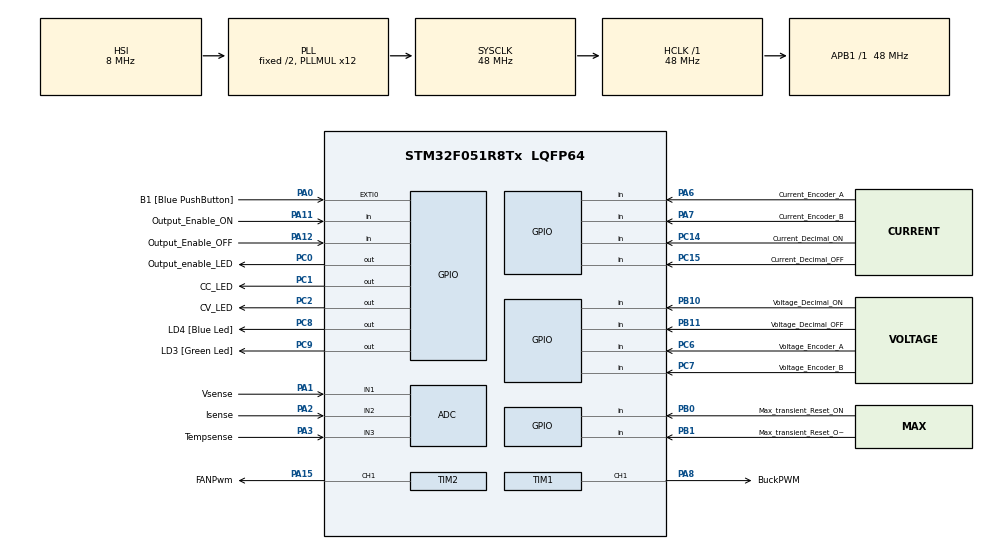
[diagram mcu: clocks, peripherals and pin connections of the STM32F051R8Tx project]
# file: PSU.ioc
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ADC.ClockPrescaler=ADC_CLOCK_SYNC_PCLK_DIV4
ADC.DiscontinuousConvMode=ENABLE
Mcu.Family=STM32F0
Mcu.Name=STM32F051R8Tx
Mcu.Package=LQFP64
NVIC.TIM15_IRQn=true\:0\:0\:false\:false\:true\:true\:true
PA0.GPIO_Label=B1 [Blue PushButton]
PA0.GPIO_ModeDefaultEXTI=GPIO_MODE_EVT_RISING
PA0.Signal=GPXTI0
PA1.GPIO_Label=Vsense
PA1.Mode=IN1
PA1.Signal=ADC_IN1
PA11.GPIO_Label=Output_Enable_ON
PA11.GPIO_PuPd=GPIO_NOPULL
PA11.Signal=GPIO_Input
PA12.GPIO_Label=Output_Enable_OFF
PA12.GPIO_PuPd=GPIO_NOPULL
PA12.Signal=GPIO_Input
PA13.GPIO_Label=SWDIO
PA13.Mode=Serial_Wire
PA13.Signal=SYS_SWDIO
PA14.GPIO_Label=SWCLK
PA14.Mode=Serial_Wire
PA14.Signal=SYS_SWCLK
PA15.GPIO_Label=FANPwm
PA15.Signal=S_TIM2_CH1_ETR
PA2.GPIO_Label=Isense
PA2.Mode=IN2
PA2.Signal=ADC_IN2
PA3.GPIO_Label=Tempsense
PA3.Mode=IN3
PA3.Signal=ADC_IN3
PA6.GPIO_Label=Current_Encoder_A
PA6.Signal=GPIO_Input
PA7.GPIO_Label=Current_Encoder_B
PA7.Signal=GPIO_Input
PA8.GPIO_Label=BuckPWM
PA8.Signal=S_TIM1_CH1
PB0.GPIO_Label=Max_transient_Reset_ON
PB0.Signal=GPIO_Input
PB1.GPIO_Label=Max_transient_Reset_OFF
PB1.Signal=GPIO_Input
PB10.GPIO_Label=Voltage_Decimal_ON
PB10.Signal=GPIO_Input
PB11.GPIO_Label=Voltage_Decimal_OFF
PB11.Signal=GPIO_Input
PC0.GPIO_Label=Output_enable_LED
PC0.Signal=GPIO_Output
PC1.GPIO_Label=CC_LED
PC1.Signal=GPIO_Output
PC14-OSC32_IN.GPIO_Label=Current_Decimal_ON
PC14-OSC32_IN.Signal=GPIO_Input
PC15-OSC32_OUT.GPIO_Label=Current_Decimal_OFF
PC15-OSC32_OUT.Signal=GPIO_Input
PC2.GPIO_Label=CV_LED
PC2.Signal=GPIO_Output
PC6.GPIO_Label=Voltage_Encoder_A
PC6.Signal=GPIO_Input
PC7.GPIO_Label=Voltage_Encoder_B
PC7.Signal=GPIO_Input
PC8.GPIO_Label=LD4 [Blue Led]
PC8.Signal=GPIO_Output
PC9.GPIO_Label=LD3 [Green Led]
PC9.Signal=GPIO_Output
ProjectManager.HeapSize=0x200
ProjectManager.StackSize=0x400
ProjectManager.TargetToolchain=SW4STM32
RCC.AHBFreq_Value=48000000
RCC.APB1Freq_Value=48000000
RCC.APB1TimFreq_Value=48000000
RCC.HCLKFreq_Value=48000000
RCC.PLLMUL=RCC_PLL_MUL12
RCC.SYSCLKFreq_VALUE=48000000
RCC.SYSCLKSource=RCC_SYSCLKSOURCE_PLLCLK
SH.S_TIM1_CH1.0=TIM1_CH1,PWM Generation1 CH1
SH.S_TIM2_CH1_ETR.0=TIM2_CH1,PWM Generation1 CH1
TIM1.Channel-PWM\ Generation1\ CH1=TIM_CHANNEL_1
TIM1.Period=48-1
TIM1.Prescaler=1-1
TIM1.Pulse-PWM\ Generation1\ CH1=6
TIM15.Period=200-1
TIM15.Prescaler=48000
TIM2.Channel-PWM\ Generation1\ CH1=TIM_CHANNEL_1
TIM2.Period=400-1
TIM2.Prescaler=2000-1
TIM2.Pulse-PWM\ Generation1\ CH1=100
VP_TIM15_VS_ClockSourceINT.Mode=Internal
VP_TIM1_VS_ClockSourceINT.Mode=Internal
VP_TIM2_VS_ClockSourceINT.Mode=Internal
board=STM32F0DISCOVERY

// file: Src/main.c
/* USER CODE BEGIN Header */
/**
 ******************************************************************************
 * @file           : main.c
 * @brief          : Main program body
 ******************************************************************************
 * @attention
 *
 * <h2><center>&copy; Copyright (c) 2019 STMicroelectronics.
 * All rights reserved.</center></h2>
 *
 * This software component is licensed by ST under BSD 3-Clause license,
 * the "License"; You may not use this file except in compliance with the
 * License. You may obtain a copy of the License at:
 *                        opensource.org/licenses/BSD-3-Clause
 *
 ******************************************************************************
 */
/* USER CODE END Header */

#include "main.h"

/* USER CODE BEGIN Includes */
#include "arm_math.h"
#include <stdio.h>
#include <stdlib.h>
#include "stm32f0xx.h"

/* USER CODE END Includes */

/* USER CODE BEGIN PD */
#define VOLT_DIV_FACTOR		0.0445 		// assuming R1 = 16.4k and R2 = 1k
#define CURR_DIV_FACTOR 	0.235	// CSA gain is 0.5V/A
#define VOLT_OFFSET			0.3
#define CURR_OFFSET			0.15
#define CURR_REF			2.958		//reference voltage for CSA
#define cc_hysterisis       0.01
#define N					100			// moving avg approx uses 100 past samples

#define UNK                 -1
#define NON_INTR             0
#define INTR                 1

/* USER CODE END PD */

ADC_HandleTypeDef hadc;

TIM_HandleTypeDef htim1;
TIM_HandleTypeDef htim2;
TIM_HandleTypeDef htim15;

/* USER CODE BEGIN PV */

//Elliott UI

int interrupt_mode = UNK;   // which version of putchar/getchar to use.
int error_voltage = 0;   //rename and write conditions for errors
int error_current = 0;
int error_temp = 0;

int User_Voltage_limit = 0;  //set from encoder
int User_Current_limit = 0;  //set from encoder
int OutputCounter = 0;
int VDecimal = 0;
int VDecimalCounter = 0;
int CDecimal = 0;
int CDecimalCounter = 0;
int VDecimalOn = 0;
int VDecimalOff = 0;
int VaState = 0;
int VbState = 0;
int CDecimalOn = 0;
int CDecimalOff = 0;
int CaState = 0;
int CbState = 0;
int VaLastState = 0;
int VbLastState = 0;
int CaLastState = 0;
int CbLastState = 0;
int Watts = 0;  	//Power being displayed to user, calculated from output V and I
int LastWatts = 0;
int Last_v_sense_avg = 0;
int Last_i_sense_avg = 0;
int Lastfarh = 0;
int maxreset = 0;

int raw_tempsense_value = 0; //12b value from adc for TempSense
float farh = 0;
int max_trans_current = 0;

//brad's buck converter variables
int raw_voltage = 0;            //12b value from adc for vsense
int raw_current = 0;            //12b value from adc for isense
float pwm_val = 0;			//PWM value for duty cycle adjustment to gate driver
float v_sense = 0;			//buck output voltage sense
float i_sense = 0;			//buck output current sense
float rload = 0;            //buck calculated load from v_sense & i_sense
float pid_error = 0;		//difference from target v or i and sensed v or i
int user_en = 1;            //output enable flag
//float i_lim = 0.010;        //user selected current limit @elliott
//float v_lim = 3;            //user selected voltage limit @elliott
float i_lim = 0;        //user selected current limit @elliott  made changes and uses actuall set limit
float v_lim = 0;           //user selected voltage limit @elliott made changes

float v_sense_avg = 0;		//moving average val of v_sense
float i_sense_avg = 0;		//moving average val of i_sense
float farh_average = 0;

int v_sense_avg_int = 0;
int i_sense_avg_int = 0;
//int cv_cc = 1;				//constant voltage = 1, constant current = 0 (modes of operation)
int cvcc_flag = 0;

float PID_Kp = 400;             //proportional gain
float PID_Ki = 0.001;           //integral gain
float PID_Kd = 0;              //derivative gain

/* USER CODE END PV */

void SystemClock_Config(void);
static void MX_GPIO_Init(void);
static void MX_ADC_Init(void);
static void MX_TIM1_Init(void);
static void MX_TIM2_Init(void);
static void MX_TIM15_Init(void);
/* USER CODE BEGIN PFP */
//User Control

void OutputEnable(int error_voltage, int error_current, int error_temp);
void getVoltage_limit(void);
void getCurrent_limit(void);
void serial_init(void);
void printtoscreen(void);

static float approxMovingAvg(float avg, float new_sample);
void senseADC(void);
void getV(void);
void getI(void);
void Print_Power(void);
void getTemp(void);
void FanPWM(void);
void getMode(void);
void max_trans(void);
void PIDsetBuckPWM();

/* USER CODE END PFP */

/* USER CODE BEGIN 0 */

void HAL_TIM_PeriodElapsedCallback(TIM_HandleTypeDef *htim){

	if( htim -> Instance ==TIM15){
		HAL_GPIO_TogglePin(LD3_GPIO_Port,LD3_Pin);
		printtoscreen();

	}
}

/* USER CODE END 0 */

int main(void)
{
	/* USER CODE BEGIN 1 */
	serial_init();	//set up serial for nextion HMI
	/* USER CODE END 1 */

	/* MCU Configuration--------------------------------------------------------*/

	/* Reset of all peripherals, Initializes the Flash interface and the Systick. */
	HAL_Init();

	/* Configure the system clock */
	SystemClock_Config();

	/* Initialize all configured peripherals */
	MX_GPIO_Init();
	MX_ADC_Init();
	MX_TIM1_Init();
	MX_TIM2_Init();
	MX_TIM15_Init();
	/* USER CODE BEGIN 2 */

	HAL_TIM_PWM_Start(&htim1, TIM_CHANNEL_1); //Start PWM for Buck
	HAL_TIM_PWM_Start(&htim2, TIM_CHANNEL_1); //Start PWM for FAN
	HAL_TIM_Base_Start_IT(&htim15);           //Start Interrupt Timer for 15

	printf("VoltageL.val=%d%c%c%c",0,255,255,255);		//prints voltage to screen	VoltageL.val=0���
	printf("CurrentL.val=%d%c%c%c",0,255,255,255);		//prints voltage to screen	VoltageL.val=0���
	printf("Temp.pco=%d%c%c%c",65535,255,255,255);		//turns temp number black on screen Temp.pco=0���
	printf("temptxt.pco=%d%c%c%c",65535,255,255,255);	//turns temp text black on screen tempxt.pco=0���
	printf("ftxt.pco=%d%c%c%c",65535,255,255,255);		//turns F text black on screen ftxt.pco=0���

	/* USER CODE END 2 */

	/* Infinite loop */
	/* USER CODE BEGIN WHILE */
	while (1)
	{

		//User Interface
		OutputEnable(error_voltage,error_current,error_temp);	//Output enable function, error parameters can be used to send error signal to disable output
		getVoltage_limit();
		getCurrent_limit();

		v_lim = User_Voltage_limit/100.0;
		i_lim = User_Current_limit/100.0;

		//user end
		senseADC();
		getV();
		getI();
		Print_Power();
		rload = v_sense_avg / i_sense_avg;

		getMode();			//1 = Const V, 0 = Const C mode
		PIDsetBuckPWM();	//set new PWM for buck using PID loop

		getTemp();
		max_trans();  		//Checks and displays max transient current when OE is pressed.
		FanPWM();

		/* USER CODE END WHILE */

	}
}

void SystemClock_Config(void)
{
	RCC_OscInitTypeDef RCC_OscInitStruct = {0};
	RCC_ClkInitTypeDef RCC_ClkInitStruct = {0};

	/** Initializes the CPU, AHB and APB busses clocks
	 */
	RCC_OscInitStruct.OscillatorType = RCC_OSCILLATORTYPE_HSI;
	RCC_OscInitStruct.HSIState = RCC_HSI_ON;
	RCC_OscInitStruct.HSICalibrationValue = RCC_HSICALIBRATION_DEFAULT;
	RCC_OscInitStruct.PLL.PLLState = RCC_PLL_ON;
	RCC_OscInitStruct.PLL.PLLSource = RCC_PLLSOURCE_HSI;
	RCC_OscInitStruct.PLL.PLLMUL = RCC_PLL_MUL12;
	RCC_OscInitStruct.PLL.PREDIV = RCC_PREDIV_DIV1;
	if (HAL_RCC_OscConfig(&RCC_OscInitStruct) != HAL_OK)
	{
		Error_Handler();
	}
	/** Initializes the CPU, AHB and APB busses clocks
	 */
	RCC_ClkInitStruct.ClockType = RCC_CLOCKTYPE_HCLK|RCC_CLOCKTYPE_SYSCLK
			|RCC_CLOCKTYPE_PCLK1;
	RCC_ClkInitStruct.SYSCLKSource = RCC_SYSCLKSOURCE_PLLCLK;
	RCC_ClkInitStruct.AHBCLKDivider = RCC_SYSCLK_DIV1;
	RCC_ClkInitStruct.APB1CLKDivider = RCC_HCLK_DIV1;

	if (HAL_RCC_ClockConfig(&RCC_ClkInitStruct, FLASH_LATENCY_1) != HAL_OK)
	{
		Error_Handler();
	}
}

static void MX_ADC_Init(void)
{

	ADC_ChannelConfTypeDef sConfig = {0};

	/** Configure the global features of the ADC (Clock, Resolution, Data Alignment and number of conversion)
	 */
	hadc.Instance = ADC1;
	hadc.Init.ClockPrescaler = ADC_CLOCK_SYNC_PCLK_DIV4;
	hadc.Init.Resolution = ADC_RESOLUTION_12B;
	hadc.Init.DataAlign = ADC_DATAALIGN_RIGHT;
	hadc.Init.ScanConvMode = ADC_SCAN_DIRECTION_FORWARD;
	hadc.Init.EOCSelection = ADC_EOC_SINGLE_CONV;
	hadc.Init.LowPowerAutoWait = DISABLE;
	hadc.Init.LowPowerAutoPowerOff = DISABLE;
	hadc.Init.ContinuousConvMode = DISABLE;
	hadc.Init.DiscontinuousConvMode = ENABLE;
	hadc.Init.ExternalTrigConv = ADC_SOFTWARE_START;
	hadc.Init.ExternalTrigConvEdge = ADC_EXTERNALTRIGCONVEDGE_NONE;
	hadc.Init.DMAContinuousRequests = DISABLE;
	hadc.Init.Overrun = ADC_OVR_DATA_PRESERVED;
	if (HAL_ADC_Init(&hadc) != HAL_OK)
	{
		Error_Handler();
	}
	/** Configure for the selected ADC regular channel to be converted.
	 */
	sConfig.Channel = ADC_CHANNEL_1;
	sConfig.Rank = ADC_RANK_CHANNEL_NUMBER;
	sConfig.SamplingTime = ADC_SAMPLETIME_1CYCLE_5;
	if (HAL_ADC_ConfigChannel(&hadc, &sConfig) != HAL_OK)
	{
		Error_Handler();
	}
	/** Configure for the selected ADC regular channel to be converted.
	 */
	sConfig.Channel = ADC_CHANNEL_2;
	if (HAL_ADC_ConfigChannel(&hadc, &sConfig) != HAL_OK)
	{
		Error_Handler();
	}
	/** Configure for the selected ADC regular channel to be converted.
	 */
	sConfig.Channel = ADC_CHANNEL_3;
	if (HAL_ADC_ConfigChannel(&hadc, &sConfig) != HAL_OK)
	{
		Error_Handler();
	}

}

static void MX_TIM1_Init(void)
{

	TIM_ClockConfigTypeDef sClockSourceConfig = {0};
	TIM_MasterConfigTypeDef sMasterConfig = {0};
	TIM_OC_InitTypeDef sConfigOC = {0};
	TIM_BreakDeadTimeConfigTypeDef sBreakDeadTimeConfig = {0};

	htim1.Instance = TIM1;
	htim1.Init.Prescaler = 1-1;
	htim1.Init.CounterMode = TIM_COUNTERMODE_UP;
	htim1.Init.Period = 48-1;
	htim1.Init.ClockDivision = TIM_CLOCKDIVISION_DIV1;
	htim1.Init.RepetitionCounter = 0;
	htim1.Init.AutoReloadPreload = TIM_AUTORELOAD_PRELOAD_DISABLE;
	if (HAL_TIM_Base_Init(&htim1) != HAL_OK)
	{
		Error_Handler();
	}
	sClockSourceConfig.ClockSource = TIM_CLOCKSOURCE_INTERNAL;
	if (HAL_TIM_ConfigClockSource(&htim1, &sClockSourceConfig) != HAL_OK)
	{
		Error_Handler();
	}
	if (HAL_TIM_PWM_Init(&htim1) != HAL_OK)
	{
		Error_Handler();
	}
	sMasterConfig.MasterOutputTrigger = TIM_TRGO_RESET;
	sMasterConfig.MasterSlaveMode = TIM_MASTERSLAVEMODE_DISABLE;
	if (HAL_TIMEx_MasterConfigSynchronization(&htim1, &sMasterConfig) != HAL_OK)
	{
		Error_Handler();
	}
	sConfigOC.OCMode = TIM_OCMODE_PWM1;
	sConfigOC.Pulse = 6;
	sConfigOC.OCPolarity = TIM_OCPOLARITY_HIGH;
	sConfigOC.OCNPolarity = TIM_OCNPOLARITY_HIGH;
	sConfigOC.OCFastMode = TIM_OCFAST_DISABLE;
	sConfigOC.OCIdleState = TIM_OCIDLESTATE_RESET;
	sConfigOC.OCNIdleState = TIM_OCNIDLESTATE_RESET;
	if (HAL_TIM_PWM_ConfigChannel(&htim1, &sConfigOC, TIM_CHANNEL_1) != HAL_OK)
	{
		Error_Handler();
	}
	sBreakDeadTimeConfig.OffStateRunMode = TIM_OSSR_DISABLE;
	sBreakDeadTimeConfig.OffStateIDLEMode = TIM_OSSI_DISABLE;
	sBreakDeadTimeConfig.LockLevel = TIM_LOCKLEVEL_OFF;
	sBreakDeadTimeConfig.DeadTime = 0;
	sBreakDeadTimeConfig.BreakState = TIM_BREAK_DISABLE;
	sBreakDeadTimeConfig.BreakPolarity = TIM_BREAKPOLARITY_HIGH;
	sBreakDeadTimeConfig.AutomaticOutput = TIM_AUTOMATICOUTPUT_DISABLE;
	if (HAL_TIMEx_ConfigBreakDeadTime(&htim1, &sBreakDeadTimeConfig) != HAL_OK)
	{
		Error_Handler();
	}
	HAL_TIM_MspPostInit(&htim1);

}

static void MX_TIM2_Init(void)
{

	TIM_ClockConfigTypeDef sClockSourceConfig = {0};
	TIM_MasterConfigTypeDef sMasterConfig = {0};
	TIM_OC_InitTypeDef sConfigOC = {0};

	htim2.Instance = TIM2;
	htim2.Init.Prescaler = 2000-1;
	htim2.Init.CounterMode = TIM_COUNTERMODE_UP;
	htim2.Init.Period = 400-1;
	htim2.Init.ClockDivision = TIM_CLOCKDIVISION_DIV1;
	htim2.Init.AutoReloadPreload = TIM_AUTORELOAD_PRELOAD_DISABLE;
	if (HAL_TIM_Base_Init(&htim2) != HAL_OK)
	{
		Error_Handler();
	}
	sClockSourceConfig.ClockSource = TIM_CLOCKSOURCE_INTERNAL;
	if (HAL_TIM_ConfigClockSource(&htim2, &sClockSourceConfig) != HAL_OK)
	{
		Error_Handler();
	}
	if (HAL_TIM_PWM_Init(&htim2) != HAL_OK)
	{
		Error_Handler();
	}
	sMasterConfig.MasterOutputTrigger = TIM_TRGO_RESET;
	sMasterConfig.MasterSlaveMode = TIM_MASTERSLAVEMODE_DISABLE;
	if (HAL_TIMEx_MasterConfigSynchronization(&htim2, &sMasterConfig) != HAL_OK)
	{
		Error_Handler();
	}
	sConfigOC.OCMode = TIM_OCMODE_PWM1;
	sConfigOC.Pulse = 100;
	sConfigOC.OCPolarity = TIM_OCPOLARITY_HIGH;
	sConfigOC.OCFastMode = TIM_OCFAST_DISABLE;
	if (HAL_TIM_PWM_ConfigChannel(&htim2, &sConfigOC, TIM_CHANNEL_1) != HAL_OK)
	{
		Error_Handler();
	}
	HAL_TIM_MspPostInit(&htim2);

}

static void MX_TIM15_Init(void)
{

	TIM_ClockConfigTypeDef sClockSourceConfig = {0};
	TIM_MasterConfigTypeDef sMasterConfig = {0};

	htim15.Instance = TIM15;
	htim15.Init.Prescaler = 48000;
	htim15.Init.CounterMode = TIM_COUNTERMODE_UP;
	htim15.Init.Period = 200-1;
	htim15.Init.ClockDivision = TIM_CLOCKDIVISION_DIV1;
	htim15.Init.RepetitionCounter = 0;
	htim15.Init.AutoReloadPreload = TIM_AUTORELOAD_PRELOAD_DISABLE;
	if (HAL_TIM_Base_Init(&htim15) != HAL_OK)
	{
		Error_Handler();
	}
	sClockSourceConfig.ClockSource = TIM_CLOCKSOURCE_INTERNAL;
	if (HAL_TIM_ConfigClockSource(&htim15, &sClockSourceConfig) != HAL_OK)
	{
		Error_Handler();
	}
	sMasterConfig.MasterOutputTrigger = TIM_TRGO_RESET;
	sMasterConfig.MasterSlaveMode = TIM_MASTERSLAVEMODE_DISABLE;
	if (HAL_TIMEx_MasterConfigSynchronization(&htim15, &sMasterConfig) != HAL_OK)
	{
		Error_Handler();
	}

}

static void MX_GPIO_Init(void)
{
	GPIO_InitTypeDef GPIO_InitStruct = {0};

	/* GPIO Ports Clock Enable */
	__HAL_RCC_GPIOC_CLK_ENABLE();
	__HAL_RCC_GPIOA_CLK_ENABLE();
	__HAL_RCC_GPIOB_CLK_ENABLE();

	/*Configure GPIO pin Output Level */
	HAL_GPIO_WritePin(GPIOC, Output_enable_LED_Pin|CC_LED_Pin|CV_LED_Pin|LD4_Pin
			|LD3_Pin, GPIO_PIN_RESET);

	/*Configure GPIO pins : Current_Decimal_ON_Pin Current_Decimal_OFF_Pin Voltage_Encoder_A_Pin Voltage_Encoder_B_Pin */
	GPIO_InitStruct.Pin = Current_Decimal_ON_Pin|Current_Decimal_OFF_Pin|Voltage_Encoder_A_Pin|Voltage_Encoder_B_Pin;
	GPIO_InitStruct.Mode = GPIO_MODE_INPUT;
	GPIO_InitStruct.Pull = GPIO_NOPULL;
	HAL_GPIO_Init(GPIOC, &GPIO_InitStruct);

	/*Configure GPIO pins : Output_enable_LED_Pin CC_LED_Pin CV_LED_Pin LD4_Pin
                           LD3_Pin */
	GPIO_InitStruct.Pin = Output_enable_LED_Pin|CC_LED_Pin|CV_LED_Pin|LD4_Pin
			|LD3_Pin;
	GPIO_InitStruct.Mode = GPIO_MODE_OUTPUT_PP;
	GPIO_InitStruct.Pull = GPIO_NOPULL;
	GPIO_InitStruct.Speed = GPIO_SPEED_FREQ_LOW;
	HAL_GPIO_Init(GPIOC, &GPIO_InitStruct);

	/*Configure GPIO pin : B1_Pin */
	GPIO_InitStruct.Pin = B1_Pin;
	GPIO_InitStruct.Mode = GPIO_MODE_EVT_RISING;
	GPIO_InitStruct.Pull = GPIO_NOPULL;
	HAL_GPIO_Init(B1_GPIO_Port, &GPIO_InitStruct);

	/*Configure GPIO pins : Current_Encoder_A_Pin Current_Encoder_B_Pin Output_Enable_ON_Pin Output_Enable_OFF_Pin */
	GPIO_InitStruct.Pin = Current_Encoder_A_Pin|Current_Encoder_B_Pin|Output_Enable_ON_Pin|Output_Enable_OFF_Pin;
	GPIO_InitStruct.Mode = GPIO_MODE_INPUT;
	GPIO_InitStruct.Pull = GPIO_NOPULL;
	HAL_GPIO_Init(GPIOA, &GPIO_InitStruct);

	/*Configure GPIO pins : Max_transient_Reset_ON_Pin Max_transient_Reset_OFF_Pin Voltage_Decimal_ON_Pin Voltage_Decimal_OFF_Pin */
	GPIO_InitStruct.Pin = Max_transient_Reset_ON_Pin|Max_transient_Reset_OFF_Pin|Voltage_Decimal_ON_Pin|Voltage_Decimal_OFF_Pin;
	GPIO_InitStruct.Mode = GPIO_MODE_INPUT;
	GPIO_InitStruct.Pull = GPIO_NOPULL;
	HAL_GPIO_Init(GPIOB, &GPIO_InitStruct);

}

/* USER CODE BEGIN 4 */

void OutputEnable(int error_voltage, int error_current, int error_temp){
	int OutputOn = 0;
	int OutputOff = 0;

	OutputOn=HAL_GPIO_ReadPin(Output_Enable_ON_GPIO_Port,Output_Enable_ON_Pin);
	OutputOff=HAL_GPIO_ReadPin(Output_Enable_OFF_GPIO_Port,Output_Enable_OFF_Pin);

	if(error_voltage == 1 || error_current == 1 || error_temp == 1){		//if an error has occurred
		OutputOn = 0;	//make output turn off
		OutputOff = 1;	//make output turn off
	}

	if (OutputOn == 0 && OutputOff != 0 && OutputCounter == 0){		//if button has been pressed once
		OutputCounter ++;
		HAL_GPIO_WritePin(Output_enable_LED_GPIO_Port,Output_enable_LED_Pin , GPIO_PIN_RESET); //turn off output enable led
	}
	else if(OutputOn != 0 && OutputOff == 0 && OutputCounter == 1){	//if button has been pressed twice
		OutputCounter = 0;
		HAL_GPIO_WritePin(Output_enable_LED_GPIO_Port,Output_enable_LED_Pin , GPIO_PIN_SET);  //turn on output enable led
	}
}

void getVoltage_limit(void){

	VDecimalOn = HAL_GPIO_ReadPin(Voltage_Decimal_ON_GPIO_Port,Voltage_Decimal_ON_Pin);		//read input from PA0 Reads the "current" state of the button
	VDecimalOff = HAL_GPIO_ReadPin(Voltage_Decimal_OFF_GPIO_Port,Voltage_Decimal_OFF_Pin);	//read input from PA1 Reads the "current" state of the button

	if (VDecimalOn == 0 && VDecimalOff != 0 && VDecimalCounter == 0){	//if button has been pressed once
		VDecimal = 1;								//start incrementing voltage by 0
		VDecimalCounter ++;							//increment counter
		printf("vd1.val=%d%c%c%c",0,255,255,255);	//set decimal place indicator
		printf("vd2.val=%d%c%c%c",0,255,255,255);	//set decimal place indicator
		printf("vd3.val=%d%c%c%c",0,255,255,255);	//set decimal place indicator
		printf("vd4.val=%d%c%c%c",1,255,255,255);	//set decimal place indicator
	}
	else if(VDecimalOn != 0 && VDecimalOff == 0 && VDecimalCounter == 1){	//if button has been pressed twice
		VDecimal = 10;								//start incrementing voltage by 10
		VDecimalCounter ++;							//increment counter
		printf("vd1.val=%d%c%c%c",0,255,255,255);	//set decimal place indicator
		printf("vd2.val=%d%c%c%c",0,255,255,255);	//set decimal place indicator
		printf("vd3.val=%d%c%c%c",1,255,255,255);	//set decimal place indicator
		printf("vd4.val=%d%c%c%c",0,255,255,255);	//set decimal place indicator
	}
	else if(VDecimalOn == 0 && VDecimalOff != 0 && VDecimalCounter == 2){	//if button has been pressed three times
		VDecimal = 100;								//start incrementing voltage by 100
		VDecimalCounter ++;							//increment counter
		printf("vd1.val=%d%c%c%c",0,255,255,255);	//set decimal place indicator
		printf("vd2.val=%d%c%c%c",1,255,255,255);	//set decimal place indicator
		printf("vd3.val=%d%c%c%c",0,255,255,255);	//set decimal place indicator
		printf("vd4.val=%d%c%c%c",0,255,255,255);	//set decimal place indicator
	}
	else if(VDecimalOn != 0 && VDecimalOff == 0 && VDecimalCounter == 3){	//if button has been pressed four times
		VDecimal = 1000;							//start incrementing voltage by 1000
		VDecimalCounter = 0;						//reset counter
		printf("vd1.val=%d%c%c%c",1,255,255,255);	//set decimal place indicator
		printf("vd2.val=%d%c%c%c",0,255,255,255);	//set decimal place indicator
		printf("vd3.val=%d%c%c%c",0,255,255,255);	//set decimal place indicator
		printf("vd4.val=%d%c%c%c",0,255,255,255);	//set decimal place indicator
	}

	//VOLTAGE COUNTER
	VaState = HAL_GPIO_ReadPin(Voltage_Encoder_A_GPIO_Port,Voltage_Encoder_A_Pin);	//read input from PA4 // Reads the "current" state of the outputA
	VbState = HAL_GPIO_ReadPin(Voltage_Encoder_B_GPIO_Port,Voltage_Encoder_B_Pin);	//read input from PA5// Reads the "current" state of the outputB

	if (VaState != VaLastState && VaState > VbState){		//if the previous and the current state of the outputA are different, that means a Pulse has occurred and if the outputB state is different to the outputA state, that means the encoder is rotating clockwise
		User_Voltage_limit = User_Voltage_limit + VDecimal;	//increment voltage
		if (User_Voltage_limit > 3200) {       				//our power supply cannot go over 32 V
			User_Voltage_limit = 3200;         				//don't allow voltage setting above 32 V
		}
		//printf("VoltageL.val=%d%c%c%c",User_Voltage_limit,255,255,255);	//prints voltage to screen VoltageL.val=888���
	}
	else if (VbState != VbLastState && VbState > VaState){	//if the previous and the current state of the outputA are different, that means a Pulse has occurred and //if the outputB state is different to the outputA state, that means the encoder is rotating clockwise
		User_Voltage_limit = User_Voltage_limit - VDecimal;	//increment voltage
		if (User_Voltage_limit < 0) {       				//our power supply cannot go over 32 V
			User_Voltage_limit = 0;         				//don't allow voltage setting above 32 V
		}
		//printf("VoltageL.val=%d%c%c%c",User_Voltage_limit,255,255,255);	//prints voltage to screen VoltageL.val=888���
	}
	VaLastState = VaState;          						//updates the previous state of the outputA with the current state
	VbLastState = VbState;									//updates the previous state of the outputB with the current state
}

void getCurrent_limit(void){

	CDecimalOn = HAL_GPIO_ReadPin(Current_Decimal_ON_GPIO_Port,Current_Decimal_ON_Pin);		//read input from PA2 Reads the "current" state of the button
	CDecimalOff = HAL_GPIO_ReadPin(Current_Decimal_OFF_GPIO_Port,Current_Decimal_OFF_Pin);	//read input from PA3 Reads the "current" state of the button

	if (CDecimalOn == 0 && CDecimalOff != 0 && CDecimalCounter == 0){	//if button has been pressed once
		CDecimal = 1;								//start incrementing voltage by 0
		CDecimalCounter ++;							//increment counter
		printf("cd1.val=%d%c%c%c",0,255,255,255);	//set decimal place indicator
		printf("cd2.val=%d%c%c%c",0,255,255,255);	//set decimal place indicator
		printf("cd3.val=%d%c%c%c",0,255,255,255);	//set decimal place indicator
		printf("cd4.val=%d%c%c%c",1,255,255,255);	//set decimal place indicator
	}
	else if(CDecimalOn != 0 && CDecimalOff == 0 && CDecimalCounter == 1){	//if button has been pressed twice
		CDecimal = 10;								//start incrementing voltage by 10
		CDecimalCounter ++;							//increment counter
		printf("cd1.val=%d%c%c%c",0,255,255,255);	//set decimal place indicator
		printf("cd2.val=%d%c%c%c",0,255,255,255);	//set decimal place indicator
		printf("cd3.val=%d%c%c%c",1,255,255,255);	//set decimal place indicator
		printf("cd4.val=%d%c%c%c",0,255,255,255);	//set decimal place indicator
	}
	else if(CDecimalOn == 0 && CDecimalOff != 0 && CDecimalCounter == 2){	//if button has been pressed three times
		CDecimal = 100;								//start incrementing voltage by 100
		CDecimalCounter ++;							//increment counter
		printf("cd1.val=%d%c%c%c",0,255,255,255);	//set decimal place indicator
		printf("cd2.val=%d%c%c%c",1,255,255,255);	//set decimal place indicator
		printf("cd3.val=%d%c%c%c",0,255,255,255);	//set decimal place indicator
		printf("cd4.val=%d%c%c%c",0,255,255,255);	//set decimal place indicator
	}
	else if(CDecimalOn != 0 && CDecimalOff == 0 && CDecimalCounter == 3){	//if button has been pressed four times
		CDecimal = 1000;							//start incrementing voltage by 1000
		CDecimalCounter = 0;						//reset counter
		printf("cd1.val=%d%c%c%c",1,255,255,255);	//set decimal place indicator
		printf("cd2.val=%d%c%c%c",0,255,255,255);	//set decimal place indicator
		printf("cd3.val=%d%c%c%c",0,255,255,255);	//set decimal place indicator
		printf("cd4.val=%d%c%c%c",0,255,255,255);	//set decimal place indicator
	}

	//CURRENT COUNTER
	CaState = HAL_GPIO_ReadPin(Current_Encoder_A_GPIO_Port,Current_Encoder_A_Pin);	//read input from PA4 // Reads the "current" state of the outputA
	CbState = HAL_GPIO_ReadPin(Current_Encoder_B_GPIO_Port,Current_Encoder_B_Pin);	//read input from PA5// Reads the "current" state of the outputB

	if (CaState != CaLastState && CaState > CbState){		//if the previous and the current state of the outputA are different, that means a Pulse has occurred and if the outputB state is different to the outputA state, that means the encoder is rotating clockwise
		User_Current_limit = User_Current_limit + CDecimal;	//increment voltage
		if (User_Current_limit > 3200) {       				//our power supply cannot go over 32 V
			User_Current_limit = 3200;         				//don't allow voltage setting above 32 V
		}
		//printf("CurrentL.val=%d%c%c%c",User_Current_limit,255,255,255);	//prints voltage to screen VoltageL.val=888���
	}
	else if (CbState != CbLastState && CbState > CaState){	//if the previous and the current state of the outputA are different, that means a Pulse has occurred and //if the outputB state is different to the outputA state, that means the encoder is rotating clockwise
		User_Current_limit = User_Current_limit - CDecimal;	//increment voltage
		if (User_Current_limit < 0) {       				//our power supply cannot go over 32 V
			User_Current_limit = 0;         				//don't allow voltage setting above 32 V
		}
		//printf("CurrentL.val=%d%c%c%c",User_Current_limit,255,255,255);	//prints voltage to screen VoltageL.val=888���
	}
	CaLastState = CaState;          						//updates the previous state of the outputA with the current state
	CbLastState = CbState;									//updates the previous state of the outputB with the current state
}

void senseADC (void){

	HAL_ADC_Start(&hadc);                             //start ADC
	HAL_ADC_PollForConversion(&hadc, 10);             //poll until complete
	raw_voltage = HAL_ADC_GetValue(&hadc);            //collect raw voltage

	HAL_ADC_Start(&hadc);                             //start ADC
	HAL_ADC_PollForConversion(&hadc, 10);             //poll until complete
	raw_current = HAL_ADC_GetValue(&hadc) ;            //collect raw current

	HAL_ADC_Start(&hadc);                             //start ADC
	HAL_ADC_PollForConversion(&hadc, 10);             //poll until complete
	raw_tempsense_value = HAL_ADC_GetValue(&hadc);    //collect raw tempval

	HAL_ADC_Stop(&hadc);                              //stop ADC

	return;
}

void getV (void){

	float voltage = 0;             						//0-3V conversion for voltage
	float percent_voltage = 0;      					//%V from 0-3

	percent_voltage = ((float) raw_voltage) / 4092;
	voltage = percent_voltage * 3;						//0-3V ADC signal
	v_sense = voltage / VOLT_DIV_FACTOR;				//0-50V value
	v_sense_avg = approxMovingAvg(v_sense_avg, v_sense);//take average
	v_sense_avg_int = (int)(v_sense_avg*100);		//make variable compatible with screen

	//	if (v_sense_avg_int != Last_v_sense_avg){			//if the previous and the current state of the outputA are different, that means a Pulse has occurred
	//		Last_v_sense_avg = v_sense_avg_int;				//updates the previous state of the average v sense with the current state
	//		printf("VoltageO.val=%d%c%c%c",v_sense_avg_int,255,255,255);	//prints voltage to screen	VoltageO.val=888��� will have to calibrate and multiply by 100 and change to int
	if (v_sense_avg_int > 3200){					//if voltage is above safe value, return error
		error_voltage = 1;							//set error as 1 to turn off outputs
	}
	else {
		error_voltage = 0;							//set error to 0 if nothing is wrong
	}
	//}
	return;
}

void getI (void){

	float current = 0;              					//0-3V conversion for voltage
	float percent_current = 0;      					//%V from 0-3

	percent_current = ((float) raw_current) / 4092;
	current = CURR_REF - (percent_current * 3);			//0-3V ADC signal
	i_sense = (current / CURR_DIV_FACTOR) + CURR_OFFSET;//0-3A value
	i_sense_avg = approxMovingAvg(i_sense_avg, i_sense);//take average
	i_sense_avg_int = (int)(i_sense_avg*100);		//make variable compatible with screen

	//	if (i_sense_avg_int != Last_i_sense_avg){			//if the previous and the current state of the outputA are different, that means a Pulse has occurred
	//		Last_i_sense_avg = i_sense_avg_int;				//updates the previous state of the average current sense with the current state
	//		printf("CurrentO.val=%d%c%c%c",i_sense_avg_int,255,255,255);	//prints current to screen CurrentO.val=888���	will have to calibrate and multiply by 100
	if (i_sense_avg_int > 300){						//if voltage is above safe value, return error
		error_current = 1;							//set error as 1 to turn off outputs
	}
	else {
		error_current = 0;							//set error to 0 if nothing is wrong
	}
	//}
	return;
}

void Print_Power (void){

	//if (VaState != VaLastState || CaState != CaLastState){					//if the previous and the current state of the outputA are different, that means a Pulse has occurred
	Watts = v_sense_avg_int * i_sense_avg_int / 100;	//calculate power
	//	LastWatts = Watts;													//updates the previous state of the watts with the current state
	//	printf("Watts.val=%d%c%c%c",Watts,255,255,255);						//prints voltage to screen	Watts.val=888���
	//}
	return;
}

void printtoscreen(void){

	printf("VoltageL.val=%d%c%c%c",User_Voltage_limit,255,255,255);
	printf("CurrentL.val=%d%c%c%c",User_Current_limit,255,255,255);
	printf("VoltageO.val=%d%c%c%c",v_sense_avg_int,255,255,255);
	printf("CurrentO.val=%d%c%c%c",i_sense_avg_int,255,255,255);
	printf("Watts.val=%d%c%c%c",Watts,255,255,255);
	printf("Temp.val=%d%c%c%c",(int)(farh_average*100)/10,255,255,255);	//prints temperature to screen	temp.val=888���
	return;
}

void getTemp (void){

	farh = ((raw_tempsense_value/4096.0)*3000.0)/10.0-30; 					//calculate the farenheit using 5V
	farh_average = approxMovingAvg(farh_average,farh);						//finds average of temperature

	//if (farh_average != Lastfarh){											//if the previous and the current state of the temperature are different, that means a Pulse has occurred
	//Lastfarh = farh_average;											//updates the previous state of the temperature with the current state
	//printf("Temp.val=%d%c%c%c",(int)(farh_average*100)/10,255,255,255);	//prints temperature to screen	temp.val=888���
	if((farh_average >= 100 || farh_average < 0) && error_temp == 0){	//if temperature rises above 100 F, alert user.
		error_temp = 1;													//an error has occurred
		printf("Temp.pco=%d%c%c%c",63488,255,255,255);					//turns temp number red on screen button.val=888���
		printf("temptxt.pco=%d%c%c%c",63488,255,255,255);				//turns temp text red on screen button.val=888���
		printf("ftxt.pco=%d%c%c%c",63488,255,255,255);					//turns F text red on screen button.val=888���
	}
	else if(farh_average < 100 && farh_average > 0 && error_temp == 1){	//if nothing is wrong and something was wrong before
		error_temp = 0;													//an error has not occurred
		printf("Temp.pco=%d%c%c%c",65535,255,255,255);					//turns temp number black on screen Temp.pco=0���
		printf("temptxt.pco=%d%c%c%c",65535,255,255,255);				//turns temp text black on screen tempxt.pco=0���
		printf("ftxt.pco=%d%c%c%c",65535,255,255,255);					//turns F text black on screen ftxt.pco=0���
	}
	//}
	return;
}

void FanPWM (void){

	float fan_duty=0;

	if(farh>80){
		fan_duty =95*4;
	}
	else{
		fan_duty = 30*4;
	}

	__HAL_TIM_SET_COMPARE(&htim2,TIM_CHANNEL_1,fan_duty);

}

static float approxMovingAvg(float avg, float newsample)
{
	avg -= avg / N;
	avg += newsample / N;

	return avg;
}

void getMode(void){

	if(cvcc_flag == 0){   //check if you were in cc mode
		if(i_sense_avg >=(i_lim - cc_hysterisis)){ //checking lower range
			//cc mode
			cvcc_flag = 0;
		}
		else
			cvcc_flag = 1;		//otherwise assume cv mode
	}
	else{
		if(i_sense_avg >=i_lim){ //checking lower range
			//cc mode
			cvcc_flag = 0;
		}
		else
			cvcc_flag = 1;		//otherwise assume cv mode

	}

	// turn on top STM32F0disc LED for CV, bottom for CC mode for debug
	if(cvcc_flag == 1){
		//dev board LEDS
		//		HAL_GPIO_WritePin(LD3_GPIO_Port, LD3_Pin, GPIO_PIN_RESET);
		//		HAL_GPIO_WritePin(LD4_GPIO_Port, LD4_Pin, GPIO_PIN_SET);
		//breadboard LEDS
		HAL_GPIO_WritePin(CC_LED_GPIO_Port, CC_LED_Pin, GPIO_PIN_RESET);
		HAL_GPIO_WritePin(CV_LED_GPIO_Port, CV_LED_Pin, GPIO_PIN_SET);
	}
	else
	{
		//dev board LEDs
		//		HAL_GPIO_WritePin(LD3_GPIO_Port, LD3_Pin, GPIO_PIN_SET);
		//		HAL_GPIO_WritePin(LD4_GPIO_Port, LD4_Pin, GPIO_PIN_RESET);
		// breadboard LEDS
		HAL_GPIO_WritePin(CC_LED_GPIO_Port, CC_LED_Pin, GPIO_PIN_SET);
		HAL_GPIO_WritePin(CV_LED_GPIO_Port, CV_LED_Pin, GPIO_PIN_RESET);
	}
	return;
}

void max_trans(void){

	int ResetOn  = HAL_GPIO_ReadPin(Max_transient_Reset_ON_GPIO_Port,Max_transient_Reset_ON_Pin);	//read input from PB0 Reads the "current" state of the button
	int ResetOff = HAL_GPIO_ReadPin(Max_transient_Reset_OFF_GPIO_Port,Max_transient_Reset_OFF_Pin);	//read input from PB1 Reads the "current" state of the button

	if (ResetOn > ResetOff){										//if button has been pressed once
		if (i_sense_avg_int > max_trans_current){					//if the previous and the current state of the outputA are different, that means a Pulse has occurred
			max_trans_current = i_sense_avg_int;					//updates the previous state of the average current sense with the current state
			printf("Trans.val=%d%c%c%c",max_trans_current,255,255,255);		//prints Maximum Current Transient to screen will have to calibrate and multiply by 100
			printf("TransON.val=%d%c%c%c",1,255,255,255);					//prints Maximum Current Transient is reading to screen.
			maxreset = 1;
		}
	}
	else if(ResetOn < ResetOff && maxreset == 1){									//if button has been pressed twice
		printf("Trans.val=%d%c%c%c",max_trans_current,255,255,255);			//prints Maximum Current Transient to screen will have to calibrate and multiply by 100
		printf("TransON.val=%d%c%c%c",0,255,255,255);						//prints Maximum Current Transient is not reading to screen.
		max_trans_current = 0;
		maxreset = 0;
	}
}

void PIDsetBuckPWM(void){
	arm_pid_instance_f32 PID;	//ARM PID instance float 32b

	PID.Kp = PID_Kp;
	PID.Ki = PID_Ki;
	PID.Kd = PID_Kd;

	arm_pid_init_f32(&PID, 1);

	if(cvcc_flag == 1){	//if in CV mode
		pid_error = v_lim - v_sense_avg;
	}else{			//in CC mode
		pid_error = i_lim - i_sense_avg;
	}
	pwm_val = arm_pid_f32(&PID, pid_error);

	if(pwm_val > 46)
		pwm_val = 46;

	if(pwm_val < 0)
		pwm_val = 0;

	__HAL_TIM_SET_COMPARE(&htim1, TIM_CHANNEL_1, pwm_val);
}
/* USER CODE END 4 */

void Error_Handler(void)
{
}

/************************ (C) COPYRIGHT STMicroelectronics *****END OF FILE****/
